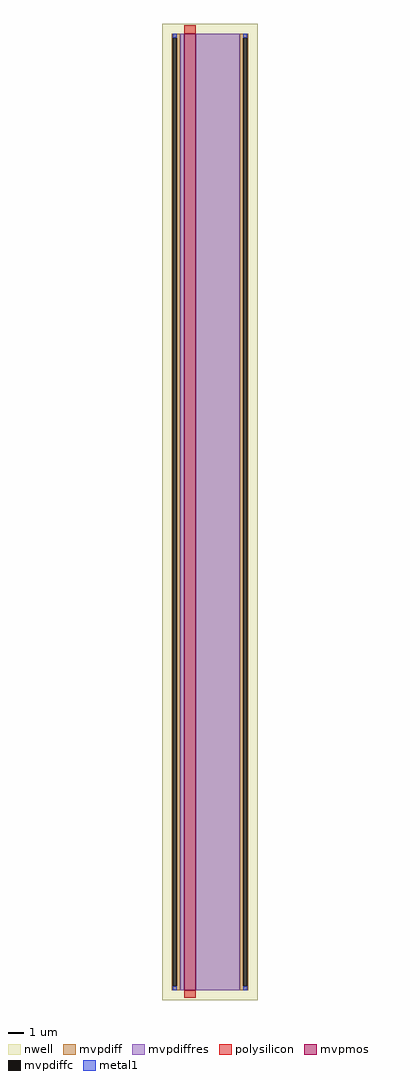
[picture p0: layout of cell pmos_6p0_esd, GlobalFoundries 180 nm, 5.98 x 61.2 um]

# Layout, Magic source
magic
tech gf180mcuD
magscale 1 10
<< nwell >>
rect 0 12 1196 12252
<< mvpmos >>
rect 278 132 418 12132
<< mvpdiff >>
rect 120 12077 222 12132
rect 120 187 133 12077
rect 179 187 222 12077
rect 120 132 222 187
rect 974 12077 1076 12132
rect 974 187 1017 12077
rect 1063 187 1076 12077
rect 974 132 1076 187
<< mvpdiffc >>
rect 133 187 179 12077
rect 1017 187 1063 12077
<< polysilicon >>
rect 278 12132 418 12238
rect 278 42 418 132
<< mvpdiffres >>
rect 222 132 278 12132
rect 418 132 974 12132
<< metal1 >>
rect 133 12077 179 12132
rect 133 132 179 187
rect 1017 12077 1063 12132
rect 1017 132 1063 187
<< properties >>
string GDS_END 11168440
string GDS_FILE $PDKPATH/libs.ref/gf180mcu_ocd_io/gds/gf180mcu_ocd_io.gds
string GDS_START 11151156
<< end >>
